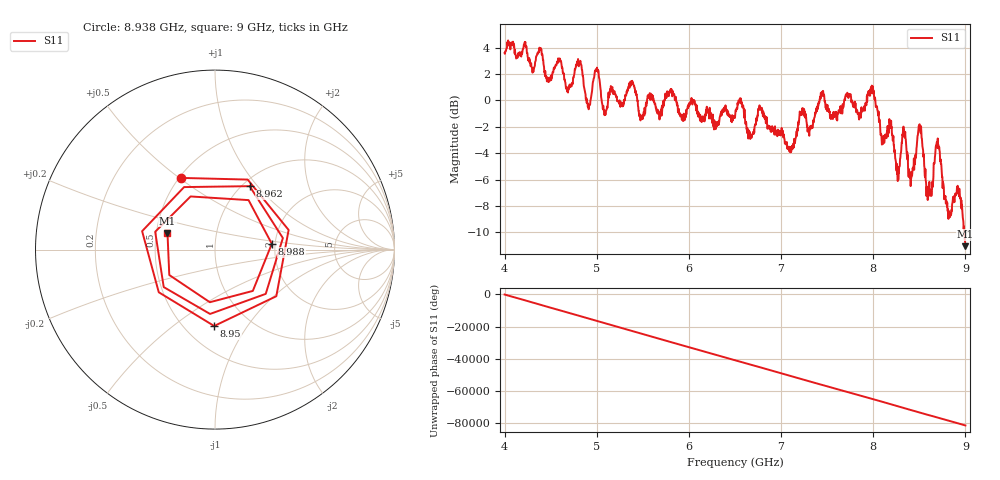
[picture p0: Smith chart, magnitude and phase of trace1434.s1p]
! Created with skrf 1.8.0 (http://scikit-rf.org).
# Hz S RI R 50.0
!freq ReS11 ImS11
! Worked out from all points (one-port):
!   1601 points, 4 GHz to 9 GHz, reference 50 ohm
!   lowest |S11| = -11.0 dB at 9 GHz (marker M1), VSWR 1.78, Z = 28.6 + j5.74 ohm
!   |S11| at or under -10 dB: 8.988947 GHz to end of sweep
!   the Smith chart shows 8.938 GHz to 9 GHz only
!   S11 on the Smith chart (normalised r, x): 8.938 GHz: 0.51, +0.51; 8.95 GHz: 0.69, -0.72; 8.962 GHz: 1.08, +0.91; 8.988 GHz: 1.92, +0.14; 9 GHz: 0.57, +0.11
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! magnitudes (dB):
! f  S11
! 4 GHz  3.6
! 4.625 GHz  2.5
! 4.906 GHz  -0.4
! 5.25 GHz  -0.2
! 5.375 GHz  1.4
! 5.481 GHz  -1.4
! 5.875 GHz  -0.4
! 6.5 GHz  -1.3
! 7.125 GHz  -3.7
! 7.444 GHz  0.4
! 7.556 GHz  -1.2
! 7.75 GHz  0.4
! 7.988 GHz  1.1
! 8.1 GHz  -2.8
! 8.197 GHz  -2.1
! 8.262 GHz  -5.3
! 8.331 GHz  -2.4
! 8.375 GHz  -4.1
! 8.419 GHz  -5.7
! 8.503 GHz  -1.8
! 8.6 GHz  -6.5
! 8.697 GHz  -3.6
! 8.822 GHz  -8.4
! 8.938 GHz  -7.1
! 8.95 GHz  -7.4
! 8.962 GHz  -7.9
! 8.988 GHz  -9.9
! 9 GHz  -11.0
